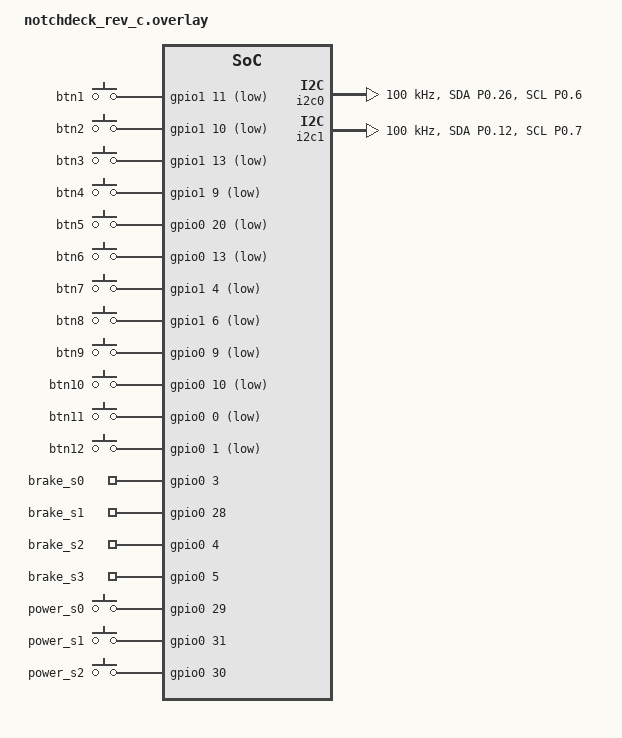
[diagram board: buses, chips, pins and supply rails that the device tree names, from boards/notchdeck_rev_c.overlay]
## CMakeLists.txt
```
cmake_minimum_required(VERSION 3.20.0)

find_package(Zephyr REQUIRED HINTS $ENV{ZEPHYR_BASE})
project(notchdeck_one)

target_sources(app PRIVATE
	src/main.c
	src/report_engine.c
	src/lever.c
	src/handle_decode.c
	src/leds.c
	src/transport_usb.c
	src/transport_ble.c
	src/dfu.c
)
```

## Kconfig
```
mainmenu "NotchDeck"
source "Kconfig.zephyr"

menu "NotchDeck handle interfaces"
config NOTCHDECK_REV_C
    bool "Use Rev C/D hardware (handle mux and Gray-code GPIO overlay)"
    help
      Requires boards/notchdeck_rev_c.overlay. Leave disabled for legacy DK
      bring-up with an AS5600 wired directly to I2C0.
config NOTCHDECK_DUAL_HANDLES
    bool "Separate power and brake handles"
    depends on NOTCHDECK_REV_C
config NOTCHDECK_COMBINED_GRAY
    bool "Combined handle uses the four Gray-code inputs"
    depends on NOTCHDECK_REV_C && !NOTCHDECK_DUAL_HANDLES
config NOTCHDECK_POWER_GRAY
    bool "Power handle uses the three Gray-code inputs"
    depends on NOTCHDECK_DUAL_HANDLES
config NOTCHDECK_BRAKE_GRAY
    bool "Brake handle uses the four Gray-code inputs"
    depends on NOTCHDECK_DUAL_HANDLES
config NOTCHDECK_SPLIT_AXES
    bool "Report power on Y and brake on X as separate axes"
    depends on NOTCHDECK_DUAL_HANDLES
    default y
    help
      Generic HID axes, not exact DGC-255 emulation. Disable for the existing
      combined Y-axis notch encoding, with brake taking priority.
endmenu
```

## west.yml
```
# West manifest — makes firmware/ a freestanding nRF Connect SDK application.
# `west init -l firmware && west update` (and CI) pulls NCS, which in turn
# imports Zephyr + all required modules. Bump `revision` to track NCS releases.
manifest:
  version: "0.13"
  projects:
    - name: nrf
      url: https://github.com/nrfconnect/sdk-nrf
      revision: v3.3.0
      import: true
  self:
    path: firmware
```

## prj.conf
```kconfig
# NotchDeck One — Zephyr / nRF Connect SDK config (SKELETON)
# Target SoC: nRF52840 (USB + BLE). Verify against your installed NCS version.

CONFIG_LOG=y

# --- Inputs: buttons (GPIO) + AS5600 lever (I2C) ---
CONFIG_GPIO=y
CONFIG_I2C=y

# --- LEDs: WS2812 strip over SPI ---
# Disabled for nRF52840 DK bring-up (no strip / no pinctrl on the DK). leds.c
# falls back to "no strip" when the led-strip DT alias is absent. Enable these
# (and the ws2812 node + pinctrl) on the custom NotchDeck board:
#   CONFIG_SPI=y
#   CONFIG_LED_STRIP=y
#   CONFIG_LED_STRIP_WS2812=y   # (Zephyr 4.x: selected via the ws2812 DT node)

# --- USB device + HID ---
CONFIG_USB_DEVICE_STACK=y
CONFIG_USB_DEVICE_HID=y
CONFIG_ENABLE_HID_INT_OUT_EP=y         # output reports (LED control)
CONFIG_USB_DEVICE_MANUFACTURER="BenchBits"
CONFIG_USB_DEVICE_PRODUCT="NotchDeck One"
# TODO: allocate our own USB IDs. 0x1209 = pid.codes (open-source); request a PID.
CONFIG_USB_DEVICE_VID=0x1209
CONFIG_USB_DEVICE_PID=0x0001

# --- Bluetooth peripheral + HID-over-GATT + Battery ---
CONFIG_BT=y
CONFIG_BT_PERIPHERAL=y
CONFIG_BT_DEVICE_NAME="NotchDeck One"
# 0x03C4 = Gamepad
CONFIG_BT_DEVICE_APPEARANCE=964
CONFIG_BT_HIDS=y
CONFIG_BT_HIDS_MAX_CLIENT_COUNT=1
CONFIG_BT_HIDS_INPUT_REP_MAX=1
CONFIG_BT_HIDS_OUTPUT_REP_MAX=1
CONFIG_BT_HIDS_FEATURE_REP_MAX=0
CONFIG_BT_HIDS_ATTR_MAX=24
CONFIG_BT_HIDS_DEFAULT_PERM_RW_ENCRYPT=y
CONFIG_BT_CONN_CTX=y                    # required by BT_HIDS (conn context lib)
CONFIG_BT_GATT_UUID16_POOL_SIZE=40
CONFIG_BT_GATT_CHRC_POOL_SIZE=20
CONFIG_BT_BAS=y
CONFIG_BT_SMP=y

# --- Persistent bonds ---
CONFIG_SETTINGS=y
CONFIG_BT_SETTINGS=y
CONFIG_FLASH=y
CONFIG_FLASH_MAP=y
CONFIG_NVS=y

# --- Firmware update / DFU (see docs/05-firmware-update.md) ---
# Emit a UF2 container; production bootloader/flash-layout integration is pending.
CONFIG_BUILD_OUTPUT_UF2=y
CONFIG_REBOOT=y                        # sys_reboot() for programmatic DFU entry (dfu.c)
# App version comes from the VERSION file -> app_version.h (APP_VERSION_STRING).

# Device Information Service advertises the firmware revision over BLE.
# Keep *_STR in sync with VERSION manually; the release target only copies files.
CONFIG_BT_DIS=y
CONFIG_BT_DIS_MANUF="BenchBits"
CONFIG_BT_DIS_MODEL="NotchDeck One"
CONFIG_BT_DIS_FW_REV=y
CONFIG_BT_DIS_FW_REV_STR="0.1.0"

# --- Sizing ---
CONFIG_MAIN_STACK_SIZE=2048
CONFIG_HEAP_MEM_POOL_SIZE=4096
```

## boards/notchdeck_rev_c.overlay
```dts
/* Rev C/D E73 module mapping. Apply as DTC_OVERLAY_FILE, replacing the DK overlay.
 * Board platform remains DK for SDK bring-up; bootloader/USB IDs still provisional. */
#include <zephyr/dt-bindings/gpio/gpio.h>
#include <zephyr/dt-bindings/pinctrl/nrf-pinctrl.h>
#include <zephyr/dt-bindings/i2c/i2c.h>

&pinctrl {
    notchdeck_i2c0_default: notchdeck_i2c0_default {
        group1 { psels = <NRF_PSEL(TWIM_SDA, 0, 26)>, <NRF_PSEL(TWIM_SCL, 0, 6)>; };
    };
    notchdeck_i2c0_sleep: notchdeck_i2c0_sleep {
        group1 { psels = <NRF_PSEL(TWIM_SDA, 0, 26)>, <NRF_PSEL(TWIM_SCL, 0, 6)>; low-power-enable; };
    };
    notchdeck_i2c1_default: notchdeck_i2c1_default {
        group1 { psels = <NRF_PSEL(TWIM_SDA, 0, 12)>, <NRF_PSEL(TWIM_SCL, 0, 7)>; };
    };
    notchdeck_i2c1_sleep: notchdeck_i2c1_sleep {
        group1 { psels = <NRF_PSEL(TWIM_SDA, 0, 12)>, <NRF_PSEL(TWIM_SCL, 0, 7)>; low-power-enable; };
    };
};
&i2c0 {
    compatible = "nordic,nrf-twim";
    status = "okay";
    clock-frequency = <I2C_BITRATE_STANDARD>;
    pinctrl-0 = <&notchdeck_i2c0_default>;
    pinctrl-1 = <&notchdeck_i2c0_sleep>;
    pinctrl-names = "default", "sleep";
};
&i2c1 {
    compatible = "nordic,nrf-twim";
    status = "okay";
    clock-frequency = <I2C_BITRATE_STANDARD>;
    pinctrl-0 = <&notchdeck_i2c1_default>;
    pinctrl-1 = <&notchdeck_i2c1_sleep>;
    pinctrl-names = "default", "sleep";
};
/* TWIM1 and SPIM1 share hardware: reserve instance 1 for the fuel gauge.
 * Future RGB SPI pinctrl must use instance 2/3. Disable DK UART pin conflicts. */
&spi0 { status = "disabled"; };
&spi1 { status = "disabled"; };
&uart0 { status = "disabled"; };
&uart1 { status = "disabled"; };
&spi3 { status = "disabled"; };
&pwm0 { status = "disabled"; };
&qspi { status = "disabled"; };
&nfct { status = "disabled"; };
&uicr { gpio-as-nreset; nfct-pins-as-gpios; };
&gpio0 {
    gpio-reserved-ranges = <18 1>;
    /delete-property/ gpio-line-names;
};
&gpio1 { /delete-property/ gpio-line-names; };
/ {
    /delete-node/ buttons;
    /delete-node/ leds;
    /delete-node/ pwmleds;
    aliases {
        /delete-property/ led0;
        /delete-property/ led1;
        /delete-property/ led2;
        /delete-property/ led3;
        /delete-property/ pwm-led0;
        /delete-property/ sw0;
        /delete-property/ sw1;
        /delete-property/ sw2;
        /delete-property/ sw3;
        /delete-property/ mcuboot-button0;
        /delete-property/ mcuboot-led0;
    };
    buttons: buttons {
        compatible = "gpio-keys";
        btn1 { gpios = <&gpio1 11 (GPIO_ACTIVE_LOW | GPIO_PULL_UP)>; };
        btn2 { gpios = <&gpio1 10 (GPIO_ACTIVE_LOW | GPIO_PULL_UP)>; };
        btn3 { gpios = <&gpio1 13 (GPIO_ACTIVE_LOW | GPIO_PULL_UP)>; };
        btn4 { gpios = <&gpio1 9 (GPIO_ACTIVE_LOW | GPIO_PULL_UP)>; };
        btn5 { gpios = <&gpio0 20 (GPIO_ACTIVE_LOW | GPIO_PULL_UP)>; };
        btn6 { gpios = <&gpio0 13 (GPIO_ACTIVE_LOW | GPIO_PULL_UP)>; };
        btn7 { gpios = <&gpio1 4 (GPIO_ACTIVE_LOW | GPIO_PULL_UP)>; };
        btn8 { gpios = <&gpio1 6 (GPIO_ACTIVE_LOW | GPIO_PULL_UP)>; };
        btn9 { gpios = <&gpio0 9 (GPIO_ACTIVE_LOW | GPIO_PULL_UP)>; };
        btn10 { gpios = <&gpio0 10 (GPIO_ACTIVE_LOW | GPIO_PULL_UP)>; };
        btn11 { gpios = <&gpio0 0 (GPIO_ACTIVE_LOW | GPIO_PULL_UP)>; };
        btn12 { gpios = <&gpio0 1 (GPIO_ACTIVE_LOW | GPIO_PULL_UP)>; };
    };
    handle_inputs {
        compatible = "gpio-keys";
        brake_s0: brake_s0 { gpios = <&gpio0 3 GPIO_ACTIVE_HIGH>; };
        brake_s1: brake_s1 { gpios = <&gpio0 28 GPIO_ACTIVE_HIGH>; };
        brake_s2: brake_s2 { gpios = <&gpio0 4 GPIO_ACTIVE_HIGH>; };
        brake_s3: brake_s3 { gpios = <&gpio0 5 GPIO_ACTIVE_HIGH>; };
        power_s0: power_s0 { gpios = <&gpio0 29 GPIO_ACTIVE_HIGH>; };
        power_s1: power_s1 { gpios = <&gpio0 31 GPIO_ACTIVE_HIGH>; };
        power_s2: power_s2 { gpios = <&gpio0 30 GPIO_ACTIVE_HIGH>; };
    };
};
```

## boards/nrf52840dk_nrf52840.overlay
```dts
/*
 * NotchDeck One — devicetree overlay (TEMPLATE for the nRF52840 DK bring-up).
 * Pins are PLACEHOLDERS. For the real board, create a proper board definition and
 * move these nodes there. For the Ebyte E73 module, map to the GPIOs the module
 * actually brings out (and confirm the USB D+/D- pads are exposed — see hardware/).
 */
#include <zephyr/dt-bindings/led/led.h>
#include <zephyr/dt-bindings/gpio/gpio.h>

/ {
	/* led-strip alias intentionally omitted on the DK (no WS2812 wired / no
	 * pinctrl); leds.c compiles in its no-strip fallback. Add the alias +
	 * the &spi1 ws2812 node (below) on the custom NotchDeck board. */

	/* Cab buttons. Child order = HID button index (first child -> button 1).
	 * Functions per spec §3; wire to GPIOs the module exposes. */
	buttons: buttons {
		compatible = "gpio-keys";
		btn_horn_hi: button_1 { gpios = <&gpio0 11 (GPIO_ACTIVE_LOW | GPIO_PULL_UP)>; label = "horn-hi (A)"; };
		btn_horn_lo: button_2 { gpios = <&gpio0 12 (GPIO_ACTIVE_LOW | GPIO_PULL_UP)>; label = "horn-lo/bell (B)"; };
		btn_door_cl: button_3 { gpios = <&gpio0 24 (GPIO_ACTIVE_LOW | GPIO_PULL_UP)>; label = "door-close (X)"; };
		btn_door_op: button_4 { gpios = <&gpio0 25 (GPIO_ACTIVE_LOW | GPIO_PULL_UP)>; label = "door-open (Y)"; };
		btn_ats:     button_5 { gpios = <&gpio1 0  (GPIO_ACTIVE_LOW | GPIO_PULL_UP)>; label = "ATS-reset (L)"; };
		btn_cab:     button_6 { gpios = <&gpio1 1  (GPIO_ACTIVE_LOW | GPIO_PULL_UP)>; label = "cab/view (R)"; };
		btn_select:  button_7 { gpios = <&gpio1 2  (GPIO_ACTIVE_LOW | GPIO_PULL_UP)>; label = "select"; };
		btn_start:   button_8 { gpios = <&gpio1 4  (GPIO_ACTIVE_LOW | GPIO_PULL_UP)>; label = "start"; };
	};
};

/* AS5600 lever sensor lives on this I2C bus (direct register reads in lever.c). */
&i2c0 {
	status = "okay";
	/* as5600 responds at 0x36; no child node needed for raw-angle reads. */
};

/* WS2812 notch bar + status pixel over SPI — for the custom NotchDeck board.
 * Disabled on the DK (needs pinctrl + a real strip). To enable: add the
 * `led-strip = &ws2812;` alias above, re-enable CONFIG_SPI/LED_STRIP in
 * prj.conf, and define pinctrl mapping SPIM MOSI -> WS2812_DIN (P0.08).
 *
 * &spi1 {
 *     compatible = "nordic,nrf-spim";
 *     status = "okay";
 *     pinctrl-0 = <&spi1_default>;
 *     pinctrl-names = "default";
 *     ws2812: ws2812@0 {
 *         compatible = "worldsemi,ws2812-spi";
 *         reg = <0>;
 *         spi-max-frequency = <4000000>;
 *         chain-length = <16>;
 *         color-mapping = <LED_COLOR_ID_GREEN LED_COLOR_ID_RED LED_COLOR_ID_BLUE>;
 *         spi-one-frame = <0x70>;
 *         spi-zero-frame = <0x40>;
 *     };
 * };
 */
```

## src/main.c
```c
/*
 * NotchDeck One — application entry / transport arbitration.
 * SKELETON. Picks USB when VBUS is present, otherwise BLE HOGP (spec policy:
 * "USB takes priority when connected"). Then runs the report loop at ~125 Hz.
 *
 * TODO: handle live VBUS plug/unplug to switch transports at runtime (this
 *       skeleton chooses once at boot); add battery (BAS) updates.
 */
#include "report.h"
#include "report_engine.h"
#include "transport.h"
#include "leds.h"
#include "lever.h"
#include "dfu.h"

#include <zephyr/kernel.h>
#include <zephyr/logging/log.h>
#include <hal/nrf_power.h>

LOG_MODULE_REGISTER(main, LOG_LEVEL_INF);

#define REPORT_PERIOD_MS  8   /* ~125 Hz */

enum { MODE_USB, MODE_BLE } mode;

static void on_output_report(const struct notchdeck_out_report *out)
{
	report_engine_apply_output(out);
}

static bool vbus_present(void)
{
	return nrf_power_usbregstatus_vbusdet_get(NRF_POWER);
}

int main(void)
{
	LOG_INF("NotchDeck One starting");

	leds_init();
	report_engine_init();

	/* Hold Select + Start (HID buttons 7 & 8) at power-on to drop into the
	 * USB UF2 update drive — the no-physical-reset path to firmware update. */
	{
		struct notchdeck_in_report boot;

		report_engine_build(&boot);
		if ((boot.buttons & (BIT(6) | BIT(7))) == (BIT(6) | BIT(7))) {
			notchdeck_enter_dfu();   /* does not return */
		}
	}

	if (vbus_present()) {
		mode = MODE_USB;
		transport_usb_init(on_output_report);
		leds_set_link_state(LINK_USB);
		LOG_INF("transport: USB");
	} else {
		mode = MODE_BLE;
		transport_ble_init(on_output_report);
		leds_set_link_state(LINK_BLE_ADV);
		LOG_INF("transport: BLE");
	}

	struct notchdeck_in_report rep;
	enum notchdeck_notch last_notch = NOTCH_COUNT;   /* force first paint */

	while (1) {
		report_engine_build(&rep);

		if (mode == MODE_USB) {
			if (transport_usb_ready()) {
				transport_usb_send(&rep);
			}
		} else {
			if (transport_ble_connected()) {
				transport_ble_send(&rep);
				leds_set_link_state(LINK_BLE_CONNECTED);
			}
		}

		enum notchdeck_notch n = lever_get_notch();

		if (n != last_notch) {
			leds_show_notch(n);
			last_notch = n;
		}

		k_msleep(REPORT_PERIOD_MS);
	}
	return 0;
}
```

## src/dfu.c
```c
/*
 * NotchDeck One — DFU entry.
 *
 * The UF2 bootloader (Adafruit nRF52 bootloader) enters mass-storage update mode
 * either on a physical double-tap of RESET (handled entirely by the bootloader),
 * or when the application writes a magic value to the retained GPREGRET register
 * and resets. This file implements the programmatic path so a button combo or a
 * host command can drop the device into the update drive.
 *
 * GPREGRET magic (Adafruit nRF52 bootloader):
 *   0x4e = serial DFU · 0xA8 = BLE OTA · 0x57 = UF2 mass-storage.
 *
 * NOTE: nrf_power_gpregret_set() signature is the modern nrfx (NCS) 3-arg form
 * (p_reg, reg_num, value). Older nrfx uses (p_reg, value).
 */
#include "dfu.h"

#include <zephyr/kernel.h>
#include <zephyr/sys/reboot.h>
#include <zephyr/logging/log.h>
#include <hal/nrf_power.h>

LOG_MODULE_REGISTER(dfu, LOG_LEVEL_INF);

#define NOTCHDECK_DFU_MAGIC_UF2  0x57

void notchdeck_enter_dfu(void)
{
	LOG_INF("entering UF2 bootloader");
	nrf_power_gpregret_set(NRF_POWER, 0, NOTCHDECK_DFU_MAGIC_UF2);
	k_msleep(50);                 /* let the log flush */
	sys_reboot(SYS_REBOOT_COLD);  /* does not return */
}
```

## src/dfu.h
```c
/*
 * NotchDeck One — enter the USB UF2 bootloader (firmware update mode).
 * See docs/05-firmware-update.md.
 */
#ifndef NOTCHDECK_DFU_H_
#define NOTCHDECK_DFU_H_

/* Reboot into the UF2 bootloader's mass-storage update mode. Does not return. */
void notchdeck_enter_dfu(void);

#endif /* NOTCHDECK_DFU_H_ */
```

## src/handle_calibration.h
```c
/* Replace with measured detent centers, or load via lever_set_calibration().
 * Deliberately empty: fabricated numbers must not command power on first boot.
 * Centers are AS5600 RAW_ANGLE counts (0..4095), listed in notch order:
 * combined EB,B8..B1,N,P1..P5; power Off,P1..P5; brake Release,B1..B8,EB.
 * Choose hysteresis well below half the closest center spacing. */
#ifndef NOTCHDECK_HANDLE_CALIBRATION_H_
#define NOTCHDECK_HANDLE_CALIBRATION_H_
#include "handle_decode.h"
static const struct handle_calibration combined_calibration = {0};
static const struct handle_calibration power_calibration = {0};
static const struct handle_calibration brake_calibration = {0};
#endif
```

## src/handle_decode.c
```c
#include "handle_decode.h"
#include <stddef.h>

/* Non-wrapping physical cams. Adjacent detents differ by exactly one bit.
 * All-open is reserved, so an unplugged harness cannot command power. */
static const uint8_t combined_codes[] = {14,10,11,9,8,0,1,3,2,6,7,5,4,12,13};
static const uint8_t power_codes[] = {1,3,2,6,4,5};
static const uint8_t brake_codes[] = {0,1,3,2,6,7,5,4,12,13};

unsigned handle_position_count(enum handle_role role)
{
    switch (role) {
    case HANDLE_COMBINED: return 15;
    case HANDLE_POWER: return 6;
    case HANDLE_BRAKE: return 10;
    default: return 0;
    }
}

static unsigned distance(unsigned a, unsigned b)
{
    unsigned d = a > b ? a - b : b - a;
    return d > HANDLE_ANGLE_COUNTS / 2 ? HANDLE_ANGLE_COUNTS - d : d;
}

bool handle_calibration_valid(const struct handle_calibration *cal, enum handle_role role)
{
    unsigned count = handle_position_count(role);
    if (!cal || !count || cal->count != count || cal->hysteresis >= HANDLE_ANGLE_COUNTS / 2) return false;
    for (unsigned i = 0; i < count; i++) {
        if (cal->centers[i] >= HANDLE_ANGLE_COUNTS) return false;
        for (unsigned j = 0; j < i; j++) {
            if (distance(cal->centers[i], cal->centers[j]) <= 2u * cal->hysteresis) return false;
        }
    }
    return true;
}

int handle_gray_position(enum handle_role role, unsigned levels)
{
    const uint8_t *codes;
    switch (role) {
    case HANDLE_COMBINED: codes = combined_codes; break;
    case HANDLE_POWER: codes = power_codes; break;
    case HANDLE_BRAKE: codes = brake_codes; break;
    default: return -1;
    }
    for (unsigned i = 0; i < handle_position_count(role); i++) {
        if (codes[i] == levels) return (int)i;
    }
    return -1;
}

int handle_angle_position(const struct handle_calibration *cal, unsigned raw, int previous)
{
    if (!cal || !cal->count || cal->count > HANDLE_MAX_POSITIONS || raw >= HANDLE_ANGLE_COUNTS) return -1;
    unsigned nearest = 0;
    unsigned best = HANDLE_ANGLE_COUNTS;
    for (unsigned i = 0; i < cal->count; i++) {
        if (cal->centers[i] >= HANDLE_ANGLE_COUNTS) return -1;
        unsigned d = distance(raw, cal->centers[i]);
        if (d < best) { best = d; nearest = i; }
    }
    if (previous >= 0 && previous < cal->count &&
        distance(raw, cal->centers[previous]) <= best + 2u * cal->hysteresis) return previous;
    return (int)nearest;
}

void handle_filter_init(struct handle_filter *f)
{
    *f = (struct handle_filter){.position = -1, .candidate = -1};
}

void handle_filter_update(struct handle_filter *f, int position, uint32_t now, uint32_t debounce_ms)
{
    if (position < 0) { f->candidate = -1; return; }
    if (position != f->candidate) {
        f->candidate = position;
        f->candidate_since = now;
    }
    if (f->valid && position == f->position) f->last_good = now;
    if ((uint32_t)(now - f->candidate_since) >= debounce_ms) {
        f->position = position;
        f->last_good = now;
        f->valid = true;
    }
}

bool handle_filter_fresh(const struct handle_filter *f, uint32_t now)
{
    return f->valid && (uint32_t)(now - f->last_good) < HANDLE_STALE_MS;
}

struct handle_state handle_resolve(bool dual, int first, int brake, bool valid, bool *armed)
{
    struct handle_state s = {0};
    if (!valid || first < 0 || first >= (dual ? 6 : 15) || (dual && (brake < 0 || brake >= 10))) {
        *armed = false;
        return (struct handle_state){.brake = 9, .combined = 0, .fault = true};
    }
    s.power = dual ? first : (first > 9 ? first - 9 : 0);
    s.brake = dual ? brake : (first < 9 ? 9 - first : 0);
    if (!s.power && !s.brake) *armed = true;
    if (!*armed || s.brake) s.power = 0;
    s.combined = s.brake ? 9 - s.brake : 9 + s.power;
    s.armed = *armed;
    return s;
}

uint8_t handle_axis_value(unsigned position, unsigned maximum)
{
    if (!maximum) return 0;
    if (position > maximum) position = maximum;
    return (uint8_t)((position * 255u + maximum / 2u) / maximum);
}

uint8_t handle_mux_mask(unsigned channel)
{
    return channel < 2 ? (uint8_t)(1u << channel) : 0;
}
```

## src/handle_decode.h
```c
/* Sensor-independent handle decoding. Electrical Gray bits: open=1, closed=0. */
#ifndef NOTCHDECK_HANDLE_DECODE_H_
#define NOTCHDECK_HANDLE_DECODE_H_
#include <stdbool.h>
#include <stdint.h>

#define HANDLE_MAX_POSITIONS 15
#define HANDLE_ANGLE_COUNTS 4096
#define HANDLE_STALE_MS 100
#define HANDLE_DEBOUNCE_MS 16

enum handle_role { HANDLE_COMBINED, HANDLE_POWER, HANDLE_BRAKE };
enum handle_source { HANDLE_MAGNETIC, HANDLE_GRAY };

/* Centers follow physical notch order, including decreasing angles or a 0 seam.
 * Fill from measurements. count=0 deliberately means uncalibrated. */
struct handle_calibration {
    uint16_t centers[HANDLE_MAX_POSITIONS];
    uint16_t hysteresis;
    uint8_t count;
};
struct handle_filter {
    int position;
    int candidate;
    uint32_t candidate_since;
    uint32_t last_good;
    bool valid;
};
struct handle_state {
    uint8_t power;       /* 0=off, 1..5 */
    uint8_t brake;       /* 0=release, 1..8, 9=emergency */
    uint8_t combined;    /* legacy notch enum: EB=0, N=9, P5=14 */
    bool fault;
    bool armed;
};

unsigned handle_position_count(enum handle_role role);
bool handle_calibration_valid(const struct handle_calibration *cal, enum handle_role role);
int handle_gray_position(enum handle_role role, unsigned levels);
int handle_angle_position(const struct handle_calibration *cal, unsigned raw, int previous);
void handle_filter_init(struct handle_filter *filter);
void handle_filter_update(struct handle_filter *filter, int position, uint32_t now, uint32_t debounce_ms);
bool handle_filter_fresh(const struct handle_filter *filter, uint32_t now);
struct handle_state handle_resolve(bool dual, int first, int brake, bool valid, bool *armed);
uint8_t handle_axis_value(unsigned position, unsigned maximum);
uint8_t handle_mux_mask(unsigned channel);
#endif
```

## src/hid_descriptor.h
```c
/*
 * NotchDeck One — shared HID report descriptor.
 *
 * This is the single source of truth fed to BOTH transports: the USB HID class
 * (transport_usb.c) and the BLE HID-over-GATT Report Map (transport_ble.c).
 * It is a verbatim implementation of docs/02-emulation-protocol-spec.md §1.
 *
 *   Report ID 1 (Input)   : 16 buttons + hat + 4 axes (X, Y=lever, Z, Rz)  -> 7 bytes
 *   Report ID 2 (Output)  : 8 LED-page bits + 6 vendor bytes (RGB/bright/speed/flags)
 *   Report ID 3 (Feature) : 7 vendor bytes (config/instrument)
 *
 * The power/brake lever lives on the Y axis (data byte 4 of the input payload),
 * matching the Zuiki/SDL "lever = left-stick-Y" convention.
 */
#ifndef NOTCHDECK_HID_DESCRIPTOR_H_
#define NOTCHDECK_HID_DESCRIPTOR_H_

#include <stdint.h>

#define NOTCHDECK_REPORT_ID_INPUT    0x01
#define NOTCHDECK_REPORT_ID_OUTPUT   0x02
#define NOTCHDECK_REPORT_ID_FEATURE  0x03

static const uint8_t notchdeck_hid_report_desc[] = {
	0x05, 0x01,        /* Usage Page (Generic Desktop)        */
	0x09, 0x04,        /* Usage (Joystick)                    */
	0xA1, 0x01,        /* Collection (Application)            */

	/* ---------- INPUT REPORT (ID 1) ---------- */
	0x85, NOTCHDECK_REPORT_ID_INPUT,

	/* 16 buttons */
	0x05, 0x09,        /*   Usage Page (Button)               */
	0x19, 0x01,        /*   Usage Minimum (Button 1)          */
	0x29, 0x10,        /*   Usage Maximum (Button 16)         */
	0x15, 0x00,        /*   Logical Minimum (0)               */
	0x25, 0x01,        /*   Logical Maximum (1)               */
	0x75, 0x01,        /*   Report Size (1)                   */
	0x95, 0x10,        /*   Report Count (16)                 */
	0x81, 0x02,        /*   Input (Data,Var,Abs)        2 B   */

	/* Hat switch (4-bit) + 4-bit padding */
	0x05, 0x01,        /*   Usage Page (Generic Desktop)      */
	0x09, 0x39,        /*   Usage (Hat switch)                */
	0x15, 0x00,        /*   Logical Minimum (0)               */
	0x25, 0x07,        /*   Logical Maximum (7)               */
	0x35, 0x00,        /*   Physical Minimum (0)              */
	0x46, 0x3B, 0x01,  /*   Physical Maximum (315)            */
	0x65, 0x14,        /*   Unit (Eng Rot: Degrees)           */
	0x75, 0x04,        /*   Report Size (4)                   */
	0x95, 0x01,        /*   Report Count (1)                  */
	0x81, 0x42,        /*   Input (Data,Var,Abs,Null)   0.5 B */
	0x65, 0x00,        /*   Unit (None)                       */
	0x75, 0x04,        /*   Report Size (4)                   */
	0x95, 0x01,        /*   Report Count (1)                  */
	0x81, 0x03,        /*   Input (Const,Var,Abs) pad   0.5 B */

	/* 4 axes: X, Y(=lever), Z, Rz  each 0..255 */
	0x05, 0x01,        /*   Usage Page (Generic Desktop)      */
	0x09, 0x30,        /*   Usage (X)                         */
	0x09, 0x31,        /*   Usage (Y)   <-- POWER/BRAKE LEVER  */
	0x09, 0x32,        /*   Usage (Z)   <-- reserved/reverser */
	0x09, 0x35,        /*   Usage (Rz)  <-- reserved/aux dial */
	0x15, 0x00,        /*   Logical Minimum (0)               */
	0x26, 0xFF, 0x00,  /*   Logical Maximum (255)             */
	0x75, 0x08,        /*   Report Size (8)                   */
	0x95, 0x04,        /*   Report Count (4)                  */
	0x81, 0x02,        /*   Input (Data,Var,Abs)        4 B   */

	/* ---------- OUTPUT REPORT (ID 2): LEDs / lamps ---------- */
	0x85, NOTCHDECK_REPORT_ID_OUTPUT,
	0x05, 0x08,        /*   Usage Page (LEDs)                 */
	0x19, 0x01,        /*   Usage Minimum (1)                 */
	0x29, 0x08,        /*   Usage Maximum (8)                 */
	0x75, 0x01,        /*   Report Size (1)                   */
	0x95, 0x08,        /*   Report Count (8)                  */
	0x91, 0x02,        /*   Output (Data,Var,Abs)       1 B   */
	0x06, 0x00, 0xFF,  /*   Usage Page (Vendor-Defined 0xFF00)*/
	0x09, 0x01,        /*   Usage (vendor)                    */
	0x15, 0x00,        /*   Logical Minimum (0)               */
	0x26, 0xFF, 0x00,  /*   Logical Maximum (255)             */
	0x75, 0x08,        /*   Report Size (8)                   */
	0x95, 0x06,        /*   Report Count (6)                  */
	0x91, 0x02,        /*   Output (Data,Var,Abs)       6 B   */

	/* ---------- FEATURE REPORT (ID 3): config / instrument ---------- */
	0x85, NOTCHDECK_REPORT_ID_FEATURE,
	0x06, 0x00, 0xFF,  /*   Usage Page (Vendor-Defined)       */
	0x09, 0x02,        /*   Usage (vendor)                    */
	0x75, 0x08,        /*   Report Size (8)                   */
	0x95, 0x07,        /*   Report Count (7)                  */
	0xB1, 0x02,        /*   Feature (Data,Var,Abs)      7 B   */

	0xC0               /* End Collection                      */
};

#endif /* NOTCHDECK_HID_DESCRIPTOR_H_ */
```

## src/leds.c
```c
/*
 * NotchDeck One — LED / lamp subsystem.
 * SKELETON. Drives a WS2812-style strip (notch bar + status pixel) via the Zephyr
 * led_strip API over SPI, plus discrete warning lamps via GPIO. Host output
 * reports override the local lever-follow/status behavior until a timeout.
 *
 * TODO(hw): size the strip to the physical bar; map warning-lamp GPIOs;
 *           implement the host-override timeout fallback to local defaults.
 */
#include "leds.h"

#include <zephyr/kernel.h>
#include <zephyr/drivers/led_strip.h>
#include <zephyr/logging/log.h>

LOG_MODULE_REGISTER(leds, LOG_LEVEL_INF);

#define STRIP_NODE  DT_ALIAS(led_strip)

#if DT_NODE_EXISTS(STRIP_NODE)
#define STRIP_NUM_PIXELS DT_PROP(STRIP_NODE, chain_length)
static const struct device *const strip = DEVICE_DT_GET(STRIP_NODE);
static struct led_rgb pixels[STRIP_NUM_PIXELS];
#define HAVE_STRIP 1
#else
#define STRIP_NUM_PIXELS 0
#define HAVE_STRIP 0
#endif

static uint8_t g_brightness = 64;          /* default dim; host can raise */
static bool    host_owns_bar;              /* output-report flag bit0 */

int leds_init(void)
{
#if HAVE_STRIP
	if (!device_is_ready(strip)) {
		LOG_ERR("LED strip not ready");
		return -ENODEV;
	}
	memset(pixels, 0, sizeof(pixels));
	led_strip_update_rgb(strip, pixels, STRIP_NUM_PIXELS);
	LOG_INF("LED strip ready (%u px)", (unsigned)STRIP_NUM_PIXELS);
#else
	LOG_WRN("no led_strip alias — LEDs disabled");
#endif
	return 0;
}

static inline uint8_t scale(uint8_t v)
{
	return (uint8_t)(((uint16_t)v * g_brightness) / 255u);
}

void leds_show_notch(enum notchdeck_notch n)
{
#if HAVE_STRIP
	if (host_owns_bar || STRIP_NUM_PIXELS < 2) {
		return;
	}
	/* Pixel 0 reserved for status; pixels 1.. = the notch bar. Brake side
	 * amber->red toward EB, neutral a single green pip, power side green. */
	memset(&pixels[1], 0, sizeof(pixels[0]) * (STRIP_NUM_PIXELS - 1));

	int bar_px = STRIP_NUM_PIXELS - 1;
	int idx = 1 + ((int)n * (bar_px - 1)) / (NOTCH_COUNT - 1);

	if (n < NOTCH_N) {              /* braking */
		pixels[idx].r = scale(255);
		pixels[idx].g = scale(n <= NOTCH_B6 ? 0 : 96);  /* redder toward EB */
	} else if (n == NOTCH_N) {      /* neutral */
		pixels[idx].g = scale(160);
	} else {                        /* powering */
		pixels[idx].g = scale(255);
	}
	led_strip_update_rgb(strip, pixels, STRIP_NUM_PIXELS);
#else
	ARG_UNUSED(n);
#endif
}

void leds_set_link_state(enum notchdeck_link_state st)
{
#if HAVE_STRIP
	if (STRIP_NUM_PIXELS < 1) {
		return;
	}
	struct led_rgb *s = &pixels[0];
	*s = (struct led_rgb){0};
	switch (st) {
	case LINK_USB:           s->g = scale(120); s->b = scale(120); break; /* cyan */
	case LINK_BLE_ADV:       s->b = scale(200);                    break; /* blue */
	case LINK_BLE_CONNECTED: s->g = scale(200);                    break; /* green */
	case LINK_PAIRING:       s->r = s->g = s->b = scale(200);      break; /* white */
	case LINK_BATT_LOW:      s->r = scale(220); s->g = scale(90);  break; /* amber */
	}
	led_strip_update_rgb(strip, pixels, STRIP_NUM_PIXELS);
#else
	ARG_UNUSED(st);
#endif
}

void leds_apply_output(const struct notchdeck_out_report *out)
{
	g_brightness = out->brightness ? out->brightness : g_brightness;
	host_owns_bar = (out->flags & NOTCHDECK_OUT_FLAG_BAR_HOST) != 0;

	if (out->flags & NOTCHDECK_OUT_FLAG_SLEEP_LEDS) {
		g_brightness = 0;
	}

	/* TODO: drive warning lamps from out->indicators (GPIO), render out->speed
	 * onto the bar/meter, and apply the status_r/g/b override. Reset host_owns_bar
	 * after an inactivity timeout so local lever-follow resumes. */
	LOG_DBG("output: ind=0x%02x speed=%u bright=%u flags=0x%02x",
		out->indicators, out->speed, out->brightness, out->flags);
}
```

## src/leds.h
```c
/*
 * NotchDeck One — LED / lamp subsystem (notch bar + status RGB + warning lamps).
 * Local default lighting (lever-follow + connection/battery status) unless a host
 * output report takes over. See docs/02-emulation-protocol-spec.md §7.
 */
#ifndef NOTCHDECK_LEDS_H_
#define NOTCHDECK_LEDS_H_

#include "report.h"
#include "lever.h"

enum notchdeck_link_state {
	LINK_USB,           /* USB attached / enumerated  */
	LINK_BLE_ADV,       /* BLE advertising            */
	LINK_BLE_CONNECTED, /* BLE connected              */
	LINK_PAIRING,       /* BLE pairing                */
	LINK_BATT_LOW,      /* low battery warning        */
};

int  leds_init(void);

/* Local default: paint the notch bar from the current lever position. */
void leds_show_notch(enum notchdeck_notch n);

/* Local default: status RGB reflects link/power state. */
void leds_set_link_state(enum notchdeck_link_state st);

/* Host override: apply a received output report. Takes priority until timeout. */
void leds_apply_output(const struct notchdeck_out_report *out);

#endif /* NOTCHDECK_LEDS_H_ */
```

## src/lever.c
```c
/* Independent sensor backends, shared notch processing; Rev C/D MCU pinout in overlay. */
#include "lever.h"
#include "handle_calibration.h"
#include <errno.h>
#include <zephyr/kernel.h>
#include <zephyr/device.h>
#include <zephyr/drivers/i2c.h>
#include <zephyr/drivers/gpio.h>
#include <zephyr/logging/log.h>
LOG_MODULE_REGISTER(lever, LOG_LEVEL_INF);

#define AS5600_ADDR 0x36
#define AS5600_STATUS 0x0B
#define HANDLE_MUX_ADDR 0x70
static const struct device *const i2c_dev = DEVICE_DT_GET(DT_NODELABEL(i2c0));
static struct handle_filter first_filter, brake_filter;
static struct handle_calibration first_cal, brake_cal;
static struct handle_state state = {.brake = 9, .combined = NOTCH_EB, .fault = true};
static bool armed;
static bool initialized;
static bool use_dual = IS_ENABLED(CONFIG_NOTCHDECK_DUAL_HANDLES);
static bool first_gray;
static bool brake_gray = IS_ENABLED(CONFIG_NOTCHDECK_BRAKE_GRAY);

#if defined(CONFIG_NOTCHDECK_REV_C)
#define INPUT_SPEC(name) GPIO_DT_SPEC_GET(DT_NODELABEL(name), gpios)
static const struct gpio_dt_spec brake_bits[] = {
    INPUT_SPEC(brake_s0), INPUT_SPEC(brake_s1), INPUT_SPEC(brake_s2), INPUT_SPEC(brake_s3)
};
static const struct gpio_dt_spec power_bits[] = {
    INPUT_SPEC(power_s0), INPUT_SPEC(power_s1), INPUT_SPEC(power_s2)
};
static int setup_bits(const struct gpio_dt_spec *bits, size_t count)
{
    for (size_t i = 0; i < count; i++) {
        if (!gpio_is_ready_dt(&bits[i])) return -ENODEV;
        int err = gpio_pin_configure_dt(&bits[i], GPIO_INPUT);
        if (err) return err;
    }
    return 0;
}
static int read_gray(bool power)
{
    const struct gpio_dt_spec *bits = power ? power_bits : brake_bits;
    size_t count = power ? ARRAY_SIZE(power_bits) : ARRAY_SIZE(brake_bits);
    unsigned levels = 0;
    for (size_t i = 0; i < count; i++) {
        /* Read actual voltage levels. Do not invert contact closure. */
        int level = gpio_pin_get_raw(bits[i].port, bits[i].pin);
        if (level < 0) return -1;
        levels |= (unsigned)level << i;
    }
    return handle_gray_position(power ? HANDLE_POWER : (use_dual ? HANDLE_BRAKE : HANDLE_COMBINED), levels);
}
#else
static int read_gray(bool power) { ARG_UNUSED(power); return -1; }
#endif

static int read_angle(unsigned channel)
{
    if (!device_is_ready(i2c_dev)) return -1;
    if (IS_ENABLED(CONFIG_NOTCHDECK_REV_C)) {
        uint8_t mask = handle_mux_mask(channel);
        if (!mask || i2c_write(i2c_dev, &mask, 1, HANDLE_MUX_ADDR)) return -1;
    }
    /* STATUS, RAW_ANGLE_H, RAW_ANGLE_L. Reject no magnet, weak or strong field. */
    uint8_t bytes[3];
    int err = i2c_burst_read(i2c_dev, AS5600_ADDR, AS5600_STATUS, bytes, sizeof(bytes));
    if (IS_ENABLED(CONFIG_NOTCHDECK_REV_C)) {
        uint8_t off = 0;
        int deselect = i2c_write(i2c_dev, &off, 1, HANDLE_MUX_ADDR);
        if (deselect) return -1;
    }
    if (err || (bytes[0] & 0x38) != 0x20) return -1;
    return ((bytes[1] & 0x0F) << 8) | bytes[2];
}

int lever_set_calibration(enum handle_role role, const struct handle_calibration *cal)
{
    if (!handle_calibration_valid(cal, role)) return -EINVAL;
    if ((!use_dual && role == HANDLE_COMBINED) || (use_dual && role == HANDLE_POWER)) {
        first_cal = *cal;
        handle_filter_init(&first_filter);
    } else if (use_dual && role == HANDLE_BRAKE) {
        brake_cal = *cal;
        handle_filter_init(&brake_filter);
    } else return -EINVAL;
    armed = false;
    state = (struct handle_state){.brake = 9, .combined = NOTCH_EB, .fault = true};
    return 0;
}

int lever_init(void)
{
    first_gray = use_dual ? IS_ENABLED(CONFIG_NOTCHDECK_POWER_GRAY) : IS_ENABLED(CONFIG_NOTCHDECK_COMBINED_GRAY);
    first_cal = use_dual ? power_calibration : combined_calibration;
    brake_cal = brake_calibration;
    handle_filter_init(&first_filter);
    handle_filter_init(&brake_filter);
    armed = false;
    state = (struct handle_state){.brake = 9, .combined = NOTCH_EB, .fault = true};
    initialized = false;
#if defined(CONFIG_NOTCHDECK_REV_C)
    int err;
    if ((use_dual && brake_gray) || (!use_dual && first_gray)) {
        err = setup_bits(brake_bits, ARRAY_SIZE(brake_bits));
        if (err) return err;
    }
    if (use_dual && first_gray) {
        err = setup_bits(power_bits, ARRAY_SIZE(power_bits));
        if (err) return err;
    }
#endif
    bool magnetic = !first_gray || (use_dual && !brake_gray);
    if (magnetic && !device_is_ready(i2c_dev)) return -ENODEV;
    if (magnetic && IS_ENABLED(CONFIG_NOTCHDECK_REV_C)) {
        uint8_t off = 0;
        int err = i2c_write(i2c_dev, &off, 1, HANDLE_MUX_ADDR);
        if (err) return err;
    }
    initialized = true;
    LOG_INF("handles: %s; first=%s brake=%s", use_dual ? "dual" : "combined",
            first_gray ? "Gray" : "magnetic", use_dual ? (brake_gray ? "Gray" : "magnetic") : "unused");
    if ((!first_gray && !handle_calibration_valid(&first_cal, use_dual ? HANDLE_POWER : HANDLE_COMBINED)) ||
        (use_dual && !brake_gray && !handle_calibration_valid(&brake_cal, HANDLE_BRAKE))) {
        LOG_WRN("magnetic detent calibration required before enabling handle output");
    }
    return 0;
}

static void poll_one(struct handle_filter *filter, bool gray, enum handle_role role,
                     unsigned channel, const struct handle_calibration *cal, uint32_t now)
{
    int position = -1;
    if (gray) position = read_gray(role == HANDLE_POWER);
    else if (handle_calibration_valid(cal, role)) {
        int raw = read_angle(channel);
        if (raw >= 0) position = handle_angle_position(cal, (unsigned)raw, filter->valid ? filter->position : -1);
    }
    handle_filter_update(filter, position, now, gray ? HANDLE_DEBOUNCE_MS : 0);
}

void lever_poll(void)
{
    uint32_t now = k_uptime_get_32();
    if (initialized) {
        poll_one(&first_filter, first_gray, use_dual ? HANDLE_POWER : HANDLE_COMBINED, 0, &first_cal, now);
        if (use_dual) poll_one(&brake_filter, brake_gray, HANDLE_BRAKE, 1, &brake_cal, now);
    }
    bool valid = initialized && handle_filter_fresh(&first_filter, now) &&
                 (!use_dual || handle_filter_fresh(&brake_filter, now));
    state = handle_resolve(use_dual, first_filter.position, brake_filter.position, valid, &armed);
}

const struct handle_state *lever_get_state(void) { return &state; }
bool lever_uses_split_axes(void) { return use_dual && IS_ENABLED(CONFIG_NOTCHDECK_SPLIT_AXES); }
enum notchdeck_notch lever_get_notch(void) { return (enum notchdeck_notch)state.combined; }
uint8_t notchdeck_notch_byte(enum notchdeck_notch n)
{
    static const uint8_t bytes[NOTCH_COUNT] = {0x00,0x05,0x13,0x20,0x2E,0x3C,0x49,0x57,0x65,0x80,0x9F,0xB7,0xCE,0xE6,0xFF};
    return bytes[n >= 0 && n < NOTCH_COUNT ? n : NOTCH_N];
}
uint8_t lever_get_notch_byte(void) { return notchdeck_notch_byte(lever_get_notch()); }
```

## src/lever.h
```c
/*
 * NotchDeck One — power/brake lever: absolute angle -> discrete notch byte.
 * Notch byte values are canonical per docs/02-emulation-protocol-spec.md §4
 * (Zuiki ZKNS-001 native encoding): EB=0x00 ... N=0x80 ... P5=0xFF.
 */
#ifndef NOTCHDECK_LEVER_H_
#define NOTCHDECK_LEVER_H_

#include <stdint.h>
#include <stdbool.h>
#include "handle_decode.h"

/* Notch indices, low (full brake/EB) -> high (full power). */
enum notchdeck_notch {
	NOTCH_EB = 0,                                   /* emergency */
	NOTCH_B8, NOTCH_B7, NOTCH_B6, NOTCH_B5,
	NOTCH_B4, NOTCH_B3, NOTCH_B2, NOTCH_B1,
	NOTCH_N,                                        /* neutral */
	NOTCH_P1, NOTCH_P2, NOTCH_P3, NOTCH_P4, NOTCH_P5,
	NOTCH_COUNT                                     /* = 15 */
};

/* Initialise the lever sensor (I2C to AS5600). Returns 0 on success. */
int lever_init(void);

/* Sample once per report; getters below return the same cached sample. */
void lever_poll(void);
const struct handle_state *lever_get_state(void);
bool lever_uses_split_axes(void);
int lever_set_calibration(enum handle_role role, const struct handle_calibration *cal);

/* Read the cached combined notch index. */
enum notchdeck_notch lever_get_notch(void);

/* Convenience: the canonical HID Y-axis byte for the current notch. */
uint8_t lever_get_notch_byte(void);

/* Map a notch index to its canonical HID byte. */
uint8_t notchdeck_notch_byte(enum notchdeck_notch n);

#endif /* NOTCHDECK_LEVER_H_ */
```

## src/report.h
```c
/*
 * NotchDeck One — packed report structs and field helpers.
 * Layout matches docs/02-emulation-protocol-spec.md §2 (input) and §5 (output).
 * These are the report PAYLOADS (no report-ID prefix); transports prepend the
 * report ID where their wire format requires it.
 */
#ifndef NOTCHDECK_REPORT_H_
#define NOTCHDECK_REPORT_H_

#include <stdint.h>

/* --- Hat (D-pad) encoded values --- */
#define NOTCHDECK_HAT_N        0
#define NOTCHDECK_HAT_NE       1
#define NOTCHDECK_HAT_E        2
#define NOTCHDECK_HAT_SE       3
#define NOTCHDECK_HAT_S        4
#define NOTCHDECK_HAT_SW       5
#define NOTCHDECK_HAT_W        6
#define NOTCHDECK_HAT_NW       7
#define NOTCHDECK_HAT_CENTER   0x0F   /* null state */

#define NOTCHDECK_AXIS_CENTER  0x80   /* neutral for reserved X/Z/Rz axes */

/* Input report payload: 7 bytes. buttons is little-endian (byte0 = buttons 1-8). */
struct __attribute__((packed)) notchdeck_in_report {
	uint16_t buttons;   /* bit0 = button 1 ... bit15 = button 16 */
	uint8_t  hat;       /* low nibble = direction (see NOTCHDECK_HAT_*), high nibble pad */
	uint8_t  x;         /* split mode: brake 0..255; combined mode: center */
	uint8_t  y;         /* combined notch byte, or split power 0..255 */
	uint8_t  z;         /* reserved (reverser), NOTCHDECK_AXIS_CENTER */
	uint8_t  rz;        /* reserved (aux dial),  NOTCHDECK_AXIS_CENTER */
};

/* Output report payload: 7 bytes (LEDs / lamps / instrument). */
struct __attribute__((packed)) notchdeck_out_report {
	uint8_t indicators; /* bit0 ATS · bit1 door-open · bit2 EB/buzzer · bit3 overspeed */
	uint8_t status_r;   /* RGB status LED override (R) — active while any of RGB != 0 */
	uint8_t status_g;
	uint8_t status_b;
	uint8_t brightness; /* global LED brightness 0..255 */
	uint8_t speed;      /* host-pushed train speed, 0..255 -> meter/bargraph */
	uint8_t flags;      /* bit0 notch-bar follow-host · bit1 sleep-LEDs · bit2 demo */
};

#define NOTCHDECK_IN_REPORT_SIZE   sizeof(struct notchdeck_in_report)   /* 7 */
#define NOTCHDECK_OUT_REPORT_SIZE  sizeof(struct notchdeck_out_report)  /* 7 */

/* Output-report flag bits */
#define NOTCHDECK_OUT_FLAG_BAR_HOST   (1u << 0)
#define NOTCHDECK_OUT_FLAG_SLEEP_LEDS (1u << 1)
#define NOTCHDECK_OUT_FLAG_DEMO       (1u << 2)

#endif /* NOTCHDECK_REPORT_H_ */
```

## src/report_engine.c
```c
/*
 * NotchDeck One — report engine.
 * SKELETON. Buttons are scanned from a "buttons" gpio-keys node (see overlay).
 * Mapping of physical buttons -> HID button index follows spec §3.
 */
#include "report_engine.h"
#include "lever.h"
#include "leds.h"

#include <zephyr/kernel.h>
#include <zephyr/drivers/gpio.h>
#include <zephyr/logging/log.h>

LOG_MODULE_REGISTER(report_engine, LOG_LEVEL_INF);

/* Buttons: a "buttons" gpio-keys node; each child = one HID button, in DT order
 * (first child -> HID button 1, etc.). See the board overlay. */
#define BUTTONS_NODE DT_NODELABEL(buttons)

#if DT_NODE_EXISTS(BUTTONS_NODE)
#define BTN_SPEC(node_id) GPIO_DT_SPEC_GET(node_id, gpios),
static const struct gpio_dt_spec buttons[] = {
	DT_FOREACH_CHILD_STATUS_OKAY(BUTTONS_NODE, BTN_SPEC)
};
#define NUM_BUTTONS ARRAY_SIZE(buttons)
#else
static const struct gpio_dt_spec buttons[] = {};
#define NUM_BUTTONS 0
#endif

int report_engine_init(void)
{
	int err = lever_init();

	if (err) {
		LOG_WRN("lever_init failed (%d) — handle fault, power inhibited", err);
	}

	for (size_t i = 0; i < NUM_BUTTONS; i++) {
		if (!gpio_is_ready_dt(&buttons[i])) {
			LOG_ERR("button %u gpio not ready", (unsigned)i);
			continue;
		}
		gpio_pin_configure_dt(&buttons[i], GPIO_INPUT);
	}
	LOG_INF("report engine ready (%u buttons)", (unsigned)NUM_BUTTONS);
	return 0;
}

void report_engine_build(struct notchdeck_in_report *rep)
{
	rep->buttons = 0;
	for (size_t i = 0; i < NUM_BUTTONS && i < 16; i++) {
		if (gpio_pin_get_dt(&buttons[i]) > 0) {
			rep->buttons |= (uint16_t)(1u << i);
		}
	}

	/* TODO(hw): scan the 4/5-way nav switch into rep->hat. */
	rep->hat = NOTCHDECK_HAT_CENTER;

	lever_poll();
	const struct handle_state *handles = lever_get_state();
	if (lever_uses_split_axes()) {
		rep->x = handle_axis_value(handles->brake, 9);
		rep->y = handle_axis_value(handles->power, 5);
	} else {
		rep->x = NOTCHDECK_AXIS_CENTER;
		rep->y = lever_get_notch_byte();
	}
	rep->z  = NOTCHDECK_AXIS_CENTER;    /* TODO(hw): reverser */
	rep->rz = NOTCHDECK_AXIS_CENTER;
}

void report_engine_apply_output(const struct notchdeck_out_report *out)
{
	leds_apply_output(out);
}
```
